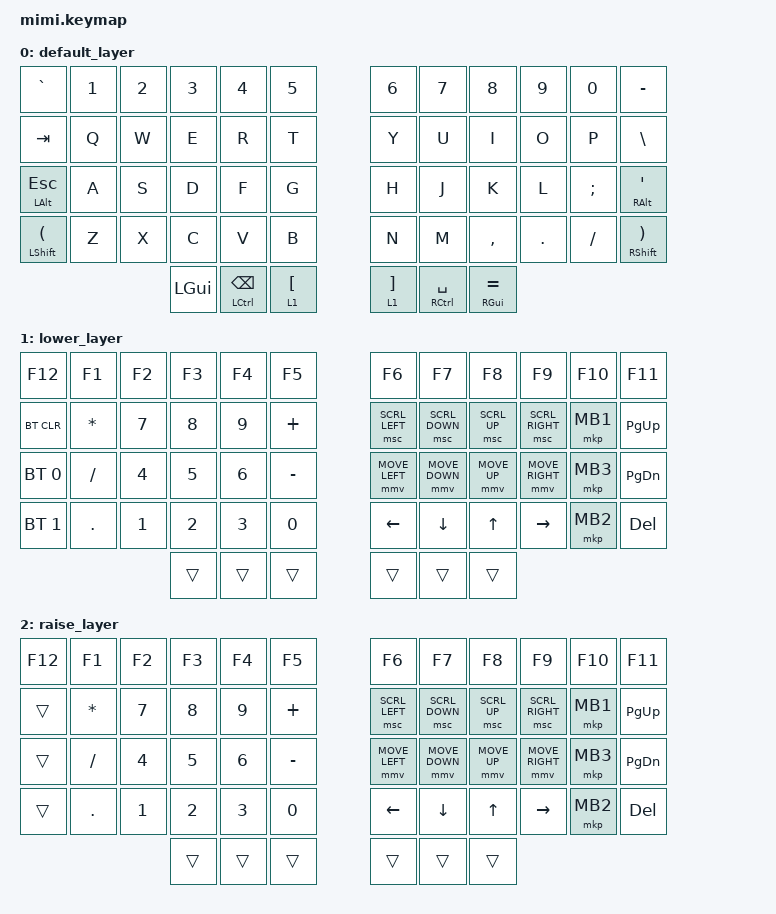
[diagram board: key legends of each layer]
/*
 * Copyright (c) 2020 The ZMK Contributors
 *
 * SPDX-License-Identifier: MIT
 */
#define ZMK_POINTING_DEFAULT_MOVE_VAL 1000  // default: 600
#define ZMK_POINTING_DEFAULT_SCRL_VAL 16    // default: 10

#include <behaviors.dtsi>
#include <dt-bindings/zmk/keys.h>
#include <dt-bindings/zmk/bt.h>
#include <dt-bindings/zmk/ext_power.h>
#include <dt-bindings/zmk/pointing.h>

&mt {
    tapping-term-ms = <260>;
    flavor = "balanced";
    quick-tap-ms = <200>;
    require-prior-idle-ms = <160>;
};

&lt {
    tapping-term-ms = <180>;
    flavor = "hold-preferred";
    quick-tap-ms = <200>;
    require-prior-idle-ms = <160>;
};

&caps_word {
    continue-list = <UNDERSCORE MINUS>;
};

/ {
    behaviors {
        hml: home_row_mod_left {
            compatible = "zmk,behavior-hold-tap";
            #binding-cells = <2>;
            flavor = "balanced";
            require-prior-idle-ms = <160>;
            tapping-term-ms = <260>;
            quick-tap-ms = <200>;
            bindings = <&kp>, <&kp>;
            hold-trigger-key-positions = <6 7 8 9 10 11 18 19 20 21 22 23 30 31 32 33 34 35 42 43 44 45 46 47>;
            hold-trigger-on-release;
        };
        hmr: home_row_mod_right {
            compatible = "zmk,behavior-hold-tap";
            #binding-cells = <2>;
            flavor = "balanced";
            require-prior-idle-ms = <160>;
            tapping-term-ms = <260>;
            quick-tap-ms = <200>;
            bindings = <&kp>, <&kp>;
            hold-trigger-key-positions = <0 1 2 3 4 5 12 13 14 15 16 17 24 25 26 27 28 29 36 37 38 39 40 41>;
            hold-trigger-on-release;
        };
    };
};

/ {
    combos {
        compatible = "zmk,combos";
        combo_enter {
            timeout-ms = <30>;
            key-positions = <31 32>; // jk -> enter
            bindings = <&kp RET>;
        };
        combo_up {
            timeout-ms = <30>;
            key-positions = <19 20>; // ui -> up
            bindings = <&kp UP>;
        };
        combo_down {
            timeout-ms = <30>;
            key-positions = <43 44>; // m, -> down
            bindings = <&kp DOWN>;
        };
        combo_pg_up {
            timeout-ms = <30>;
            key-positions = <15 16>; // er -> left
            bindings = <&kp LEFT>;
        };
        combo_pg_down {
            timeout-ms = <30>;
            key-positions = <39 40>; // cv -> right
            bindings = <&kp RIGHT>;
        };
        combo_capsword {
            timeout-ms = <30>;
            key-positions = <36 47>; // lshift rshift
            bindings = <&caps_word>;
        };
        combo_capsword_df {
            timeout-ms = <30>;
            key-positions = <27 28>; // df -> cap words
            bindings = <&caps_word>;
        };
    };
};

/ {
    keymap {
        compatible = "zmk,keymap";

        default_layer {
            bindings = <
&kp GRAVE       &kp N1 &kp N2   &kp N3   &kp N4    &kp N5                              &kp N6          &kp N7    &kp N8    &kp N9   &kp N0   &kp MINUS
&kp TAB         &kp Q  &kp W    &kp E    &kp R     &kp T                               &kp Y           &kp U     &kp I     &kp O    &kp P    &kp BSLH
&mt LALT ESC    &kp A  &kp S    &kp D    &kp F     &kp G                               &kp H           &kp J     &kp K     &kp L    &kp SEMI &mt RALT SQT
&mt LSHFT LPAR  &kp Z  &kp X    &kp C    &kp V     &kp B                               &kp N           &kp M     &kp COMMA &kp DOT  &kp FSLH &mt RSHFT RPAR
                                &kp LGUI &mt LCTRL BSPC  &lt 1 LBKT         &lt 1 RBKT &mt RCTRL SPACE &mt RGUI EQUAL
            >;
        };

        lower_layer {
            bindings = <
&kp F12      &kp F1    &kp F2   &kp F3   &kp F4   &kp F5                               &kp F6         &kp F7         &kp F8       &kp F9          &kp F10   &kp F11
&bt BT_CLR   &kp STAR  &kp N7   &kp N8   &kp N9   &kp PLUS                             &msc SCRL_LEFT &msc SCRL_DOWN &msc SCRL_UP &msc SCRL_RIGHT &mkp MB1  &kp PG_UP
&bt BT_SEL 0 &kp FSLH  &kp N4   &kp N5   &kp N6   &kp MINUS                            &mmv MOVE_LEFT &mmv MOVE_DOWN &mmv MOVE_UP &mmv MOVE_RIGHT &mkp MB3  &kp PG_DN
&bt BT_SEL 1 &kp DOT   &kp N1   &kp N2   &kp N3   &kp N0                               &kp LEFT       &kp DOWN       &kp UP       &kp RIGHT       &mkp MB2  &kp DEL
                                &trans   &trans   &trans                               &trans         &trans         &trans
            >;
        };

        raise_layer {
            bindings = <
&kp F12      &kp F1    &kp F2   &kp F3   &kp F4   &kp F5                               &kp F6         &kp F7         &kp F8       &kp F9          &kp F10   &kp F11
&trans       &kp STAR  &kp N7   &kp N8   &kp N9   &kp PLUS                             &msc SCRL_LEFT &msc SCRL_DOWN &msc SCRL_UP &msc SCRL_RIGHT &mkp MB1  &kp PG_UP
&trans       &kp FSLH  &kp N4   &kp N5   &kp N6   &kp MINUS                            &mmv MOVE_LEFT &mmv MOVE_DOWN &mmv MOVE_UP &mmv MOVE_RIGHT &mkp MB3  &kp PG_DN
&trans       &kp DOT   &kp N1   &kp N2   &kp N3   &kp N0                               &kp LEFT       &kp DOWN       &kp UP       &kp RIGHT       &mkp MB2  &kp DEL
                                 &trans   &trans  &trans                               &trans        &trans          &trans
            >;
        };
    };
};


